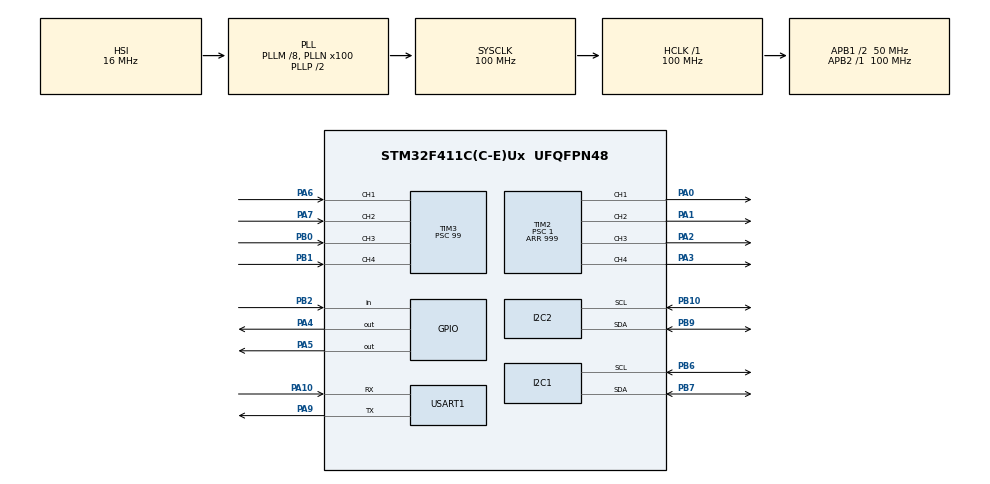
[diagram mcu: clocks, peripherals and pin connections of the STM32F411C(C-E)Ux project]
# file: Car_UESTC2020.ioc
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Mcu.Family=STM32F4
RCC.CortexFreq_Value=100000000
PB10.Mode=I2C
TIM2.Channel-PWM\ Generation2\ CH2=TIM_CHANNEL_2
RCC.SYSCLKSource=RCC_SYSCLKSOURCE_PLLCLK
ProjectManager.StackSize=0x400
TIM3.Channel-Input_Capture3_from_TI3=TIM_CHANNEL_3
TIM1.Prescaler=99
PH0\ -\ OSC_IN.Signal=RCC_OSC_IN
PB1.GPIO_PuPd=GPIO_PULLDOWN
RCC.HCLKFreq_Value=100000000
I2C1.DutyCycle=I2C_DUTYCYCLE_16_9
RCC.APB2TimFreq_Value=100000000
PB6.Signal=I2C1_SCL
PB6.Mode=I2C
RCC.AHBFreq_Value=100000000
RCC.HSE_VALUE=25000000
TIM3.Channel-Input_Capture1_from_TI1=TIM_CHANNEL_1
PB2.Signal=GPIO_Input
PA6.GPIO_PuPd=GPIO_PULLDOWN
PC14-OSC32_IN.Mode=LSE-External-Oscillator
PB1.GPIO_Speed=GPIO_SPEED_FREQ_HIGH
PA14.Mode=Serial_Wire
TIM3.Prescaler=99
PB7.Signal=I2C1_SDA
TIM2.Channel-PWM\ Generation1\ CH1=TIM_CHANNEL_1
SH.S_TIM3_CH1.0=TIM3_CH1,Input_Capture1_from_TI1
VP_TIM1_VS_ClockSourceINT.Mode=Internal
PB9.Signal=I2C2_SDA
Mcu.Package=UFQFPN48
TIM2.Prescaler=1
PB1.Signal=S_TIM3_CH4
PA6.Signal=S_TIM3_CH1
PA10.Signal=USART1_RX
RCC.APB1TimFreq_Value=100000000
TIM1.Period=999
PA6.GPIO_Speed=GPIO_SPEED_FREQ_HIGH
NVIC.USART1_IRQn=true\:3\:0\:true\:false\:true\:true\:true
I2C2.I2C_Mode=I2C_Fast
VP_TIM3_VS_ClockSourceINT.Mode=Internal
PA3.Signal=S_TIM2_CH4
TIM3.ICPrescaler-Input_Capture4_from_TI4=TIM_ICPSC_DIV1
PC15-OSC32_OUT.Mode=LSE-External-Oscillator
TIM2.Channel-PWM\ Generation4\ CH4=TIM_CHANNEL_4
TIM3.Channel-Input_Capture2_from_TI2=TIM_CHANNEL_2
PA10.Mode=Asynchronous
PH1\ -\ OSC_OUT.Mode=HSE-External-Oscillator
RCC.APB1CLKDivider=RCC_HCLK_DIV2
PC14-OSC32_IN.Signal=RCC_OSC32_IN
SH.S_TIM3_CH3.0=TIM3_CH3,Input_Capture3_from_TI3
PA0-WKUP.Signal=S_TIM2_CH1_ETR
PB0.GPIO_Speed=GPIO_SPEED_FREQ_HIGH
PA13.Signal=SYS_JTMS-SWDIO
SH.S_TIM2_CH2.0=TIM2_CH2,PWM Generation2 CH2
PA9.Mode=Asynchronous
PH0\ -\ OSC_IN.Mode=HSE-External-Oscillator
ProjectManager.TargetToolchain=MDK-ARM V5.27
I2C1.I2C_Mode=I2C_Fast
PB9.Mode=I2C
PA9.Signal=USART1_TX
TIM3.ICPrescaler-Input_Capture3_from_TI3=TIM_ICPSC_DIV1
PC15-OSC32_OUT.Signal=RCC_OSC32_OUT
PA7.GPIO_PuPd=GPIO_PULLDOWN
PA1.Signal=S_TIM2_CH2
PB10.Signal=I2C2_SCL
PA5.Signal=GPIO_Output
SH.S_TIM3_CH2.0=TIM3_CH2,Input_Capture2_from_TI2
PH1\ -\ OSC_OUT.Signal=RCC_OSC_OUT
board=custom
RCC.VCOOutputFreq_Value=200000000
PA7.GPIO_Speed=GPIO_SPEED_FREQ_HIGH
NVIC.TIM3_IRQn=true\:2\:0\:true\:false\:true\:true\:true
RCC.APB2Freq_Value=100000000
VP_TIM2_VS_ClockSourceINT.Mode=Internal
SH.S_TIM2_CH3.0=TIM2_CH3,PWM Generation3 CH3
TIM2.Channel-PWM\ Generation3\ CH3=TIM_CHANNEL_3
TIM3.Channel-Input_Capture4_from_TI4=TIM_CHANNEL_4
TIM2.Period=999
PA13.Mode=Serial_Wire
Mcu.Name=STM32F411C(C-E)Ux
PA2.Signal=S_TIM2_CH3
RCC.48MHZClocksFreq_Value=50000000
PA4.Signal=GPIO_Output
RCC.SYSCLKFreq_VALUE=100000000
I2C2.DutyCycle=I2C_DUTYCYCLE_16_9
USART1.VirtualMode=VM_ASYNC
PB7.Mode=I2C
SH.S_TIM2_CH1_ETR.0=TIM2_CH1,PWM Generation1 CH1
PA14.Signal=SYS_JTCK-SWCLK
ProjectManager.HeapSize=0x200
SH.S_TIM2_CH4.0=TIM2_CH4,PWM Generation4 CH4
NVIC.TIM1_UP_TIM10_IRQn=true\:1\:0\:true\:false\:true\:true\:true
RCC.HSI_VALUE=16000000
NVIC.PriorityGroup=NVIC_PRIORITYGROUP_4
RCC.PLLM=8
RCC.PLLN=100
RCC.APB1Freq_Value=50000000
PB0.Signal=S_TIM3_CH3
PB0.GPIO_PuPd=GPIO_PULLDOWN
SH.S_TIM3_CH4.0=TIM3_CH4,Input_Capture4_from_TI4
PA7.Signal=S_TIM3_CH2

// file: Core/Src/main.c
/* USER CODE BEGIN Header */
/**
  ******************************************************************************
  * @file           : main.c
  * @brief          : Main program body
  ******************************************************************************
  * @attention
  *
  * <h2><center>&copy; Copyright (c) 2020 STMicroelectronics.
  * All rights reserved.</center></h2>
  *
  * This software component is licensed by ST under BSD 3-Clause license,
  * the "License"; You may not use this file except in compliance with the
  * License. You may obtain a copy of the License at:
  *                        opensource.org/licenses/BSD-3-Clause
  *
  ******************************************************************************
  */
/* USER CODE END Header */
#include "main.h"
#include "i2c.h"
#include "tim.h"
#include "usart.h"
#include "gpio.h"

/* USER CODE BEGIN Includes */
#include "oled.h"
#include "motor.h"
#include "gy-86.h"
#include "esp8266.h"
#include "control.h"
#include "data_transfer.h"
#include "inv_mpu.h"
#include "inv_mpu_dmp_motion_driver.h"
/* USER CODE END Includes */

void SystemClock_Config(void);

int main(void){

  /* MCU Configuration--------------------------------------------------------*/

  /* Reset of all peripherals, Initializes the Flash interface and the Systick. */
  HAL_Init();

  /* Configure the system clock */
  SystemClock_Config();

  /* Initialize all configured peripherals */
  MX_GPIO_Init();
  MX_TIM2_Init();
  MX_TIM3_Init();
  MX_I2C1_Init();
  MX_I2C2_Init();
  MX_TIM1_Init();
  MX_USART1_UART_Init();
  /* USER CODE BEGIN 2 */
	OLED_Init();
	OLED_Clear();
	OLED_ShowString(28,3,(uint8_t*)"Car_Seesaw",16);
	HAL_UART_Receive_IT(&huart1, (uint8_t *)aRxBuffer, RXBUFFERSIZE);
	//esp8266_init();
	Motor_Init();
	OLED_Clear();
	HAL_TIM_IC_Start_IT(&htim3,TIM_CHANNEL_1);
	HAL_TIM_IC_Start_IT(&htim3,TIM_CHANNEL_2);
	HAL_TIM_IC_Start_IT(&htim3,TIM_CHANNEL_3);
	HAL_TIM_IC_Start_IT(&htim3,TIM_CHANNEL_4);

	mpu_dmp_init();
	HAL_TIM_Base_Start_IT(&htim1);
	Gyro_Test();
  /* USER CODE END 2 */

  /* Infinite loop */
  /* USER CODE BEGIN WHILE */
  while (1)
  {
		OLED_ShowNum(48,4,roll,4,16);
		ANO_DT_Send_Status(roll,pitch,yaw,1,122,233);
		ANO_DT_Send_RCData(SpeedOfWheel[0]*100,SpeedOfWheel[1]*100,SpeedOfWheel[2]*100,SpeedOfWheel[3]*100,\
			AngleRingPID.P*100,AngleRingPID.I*100,AngleRingPID.D*100,\
			SpeedRingPID.P*100,SpeedRingPID.I*100,SpeedRingPID.D*100);
	  HAL_Delay(10);
		ANO_DT_PIDControl();//�޸�PID
    /* USER CODE END WHILE */

  }
}

void SystemClock_Config(void)
{
  RCC_OscInitTypeDef RCC_OscInitStruct = {0};
  RCC_ClkInitTypeDef RCC_ClkInitStruct = {0};

  /** Configure the main internal regulator output voltage
  */
  __HAL_RCC_PWR_CLK_ENABLE();
  __HAL_PWR_VOLTAGESCALING_CONFIG(PWR_REGULATOR_VOLTAGE_SCALE1);
  /** Initializes the RCC Oscillators according to the specified parameters
  * in the RCC_OscInitTypeDef structure.
  */
  RCC_OscInitStruct.OscillatorType = RCC_OSCILLATORTYPE_HSI;
  RCC_OscInitStruct.HSIState = RCC_HSI_ON;
  RCC_OscInitStruct.HSICalibrationValue = RCC_HSICALIBRATION_DEFAULT;
  RCC_OscInitStruct.PLL.PLLState = RCC_PLL_ON;
  RCC_OscInitStruct.PLL.PLLSource = RCC_PLLSOURCE_HSI;
  RCC_OscInitStruct.PLL.PLLM = 8;
  RCC_OscInitStruct.PLL.PLLN = 100;
  RCC_OscInitStruct.PLL.PLLP = RCC_PLLP_DIV2;
  RCC_OscInitStruct.PLL.PLLQ = 4;
  if (HAL_RCC_OscConfig(&RCC_OscInitStruct) != HAL_OK)
  {
    Error_Handler();
  }
  /** Initializes the CPU, AHB and APB buses clocks
  */
  RCC_ClkInitStruct.ClockType = RCC_CLOCKTYPE_HCLK|RCC_CLOCKTYPE_SYSCLK
                              |RCC_CLOCKTYPE_PCLK1|RCC_CLOCKTYPE_PCLK2;
  RCC_ClkInitStruct.SYSCLKSource = RCC_SYSCLKSOURCE_PLLCLK;
  RCC_ClkInitStruct.AHBCLKDivider = RCC_SYSCLK_DIV1;
  RCC_ClkInitStruct.APB1CLKDivider = RCC_HCLK_DIV2;
  RCC_ClkInitStruct.APB2CLKDivider = RCC_HCLK_DIV1;

  if (HAL_RCC_ClockConfig(&RCC_ClkInitStruct, FLASH_LATENCY_3) != HAL_OK)
  {
    Error_Handler();
  }
}

void Error_Handler(void)
{
  __disable_irq();
  while (1)
  {
  }
}

/************************ (C) COPYRIGHT STMicroelectronics *****END OF FILE****/
